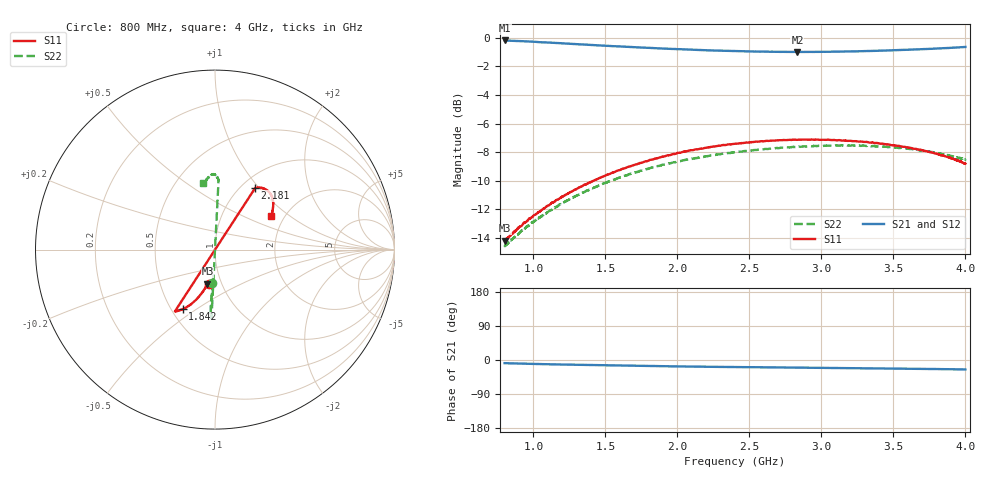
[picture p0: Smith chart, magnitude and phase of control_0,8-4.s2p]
!Created with skrf (http://scikit-rf.org).
# GHz S RI R 50.0
!freq ReS11 ImS11 ReS21 ImS21 ReS12 ImS12 ReS22 ImS22
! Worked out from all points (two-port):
!   5001 points, 800 MHz to 4 GHz, reference 50 ohm
!   highest |S21| = -0.20 dB at 800 MHz (marker M1); lowest = -1.0 dB at 2.833 GHz (marker M2)
!   |S21| within 3 dB of the highest: start of sweep to end of sweep
!   lowest |S11| = -14.2 dB at 801.9 MHz (marker M3), VSWR 1.49, Z = 42.9 - j17 ohm
!   |S11| at or under -10 dB: start of sweep to 1.415 GHz
!   |S22| runs from -14.6 to -7.5 dB; largest |S21 - S12| = 0.0051
!   S11 on the Smith chart (normalised r, x): 800 MHz: 0.87, -0.35; 1.842 GHz: 0.57, -0.44; 2.181 GHz: 1.15, +0.95; 4 GHz: 1.71, +0.73
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0.8  -0.0362 -0.1931  0.9665 -0.1417  0.9661 -0.1411  -0.0154 -0.1868
0.80192  -0.0419 -0.1907  0.9662 -0.1425  0.966 -0.1423  -0.0101 -0.1868
0.9152  -0.0545 -0.2128  0.9584 -0.1597  0.9586 -0.1586  -0.0127 -0.211
1.03168  -0.0687 -0.2355  0.9477 -0.1774  0.9485 -0.1744  -0.0155 -0.2331
1.17056  -0.0865 -0.2582  0.9367 -0.1946  0.9364 -0.1929  -0.0188 -0.2578
1.33376  -0.1086 -0.2817  0.9228 -0.2107  0.9231 -0.2109  -0.0207 -0.2855
1.5808  -0.1432 -0.3113  0.9021 -0.2343  0.9025 -0.2318  -0.0232 -0.3213
1.84192  -0.1798 -0.3319  0.8823 -0.2542  0.8835 -0.2519  -0.0234 -0.3527
1.86688  -0.1821 -0.3335  0.8807 -0.2561  0.8821 -0.2537  -0.0224 -0.3555
2.09856  -0.2145 -0.3427  0.865 -0.2734  0.8664 -0.2691  -0.0209 -0.3765
2.16448  -0.222 -0.3442  0.8609 -0.2742  0.8625 -0.2732  -0.0202 -0.3822
2.18112  0.2236 0.3441  0.8599 -0.2747  0.8617 -0.2741  0.0197 0.3825
2.19712  0.2264 0.3447  0.8595 -0.2757  0.8608 -0.2748  0.02 0.3846
2.4  0.2495 0.3451  0.8496 -0.2861  0.8504 -0.2857  0.0154 0.3973
2.58752  0.2684 0.3418  0.844 -0.2928  0.8431 -0.2931  0.00968 0.4065
2.83328  0.2904 0.3301  0.8362 -0.3064  0.8361 -0.305  0.00225 0.4159
2.93376  0.2983 0.3242  0.8346 -0.3124  0.8343 -0.3109  -0.000631 0.4172
3.20256  0.314 0.3033  0.8319 -0.329  0.8319 -0.3263  -0.00933 0.4197
3.46688  0.323 0.2739  0.8326 -0.3464  0.8318 -0.3447  -0.0226 0.4141
3.616  0.325 0.2541  0.8341 -0.3568  0.8326 -0.3565  -0.031 0.4073
3.7696  0.3229 0.2307  0.8365 -0.3684  0.8353 -0.3681  -0.0416 0.396
4  0.312 0.185  0.8409 -0.3901  0.8408 -0.3894  -0.064 0.3701
